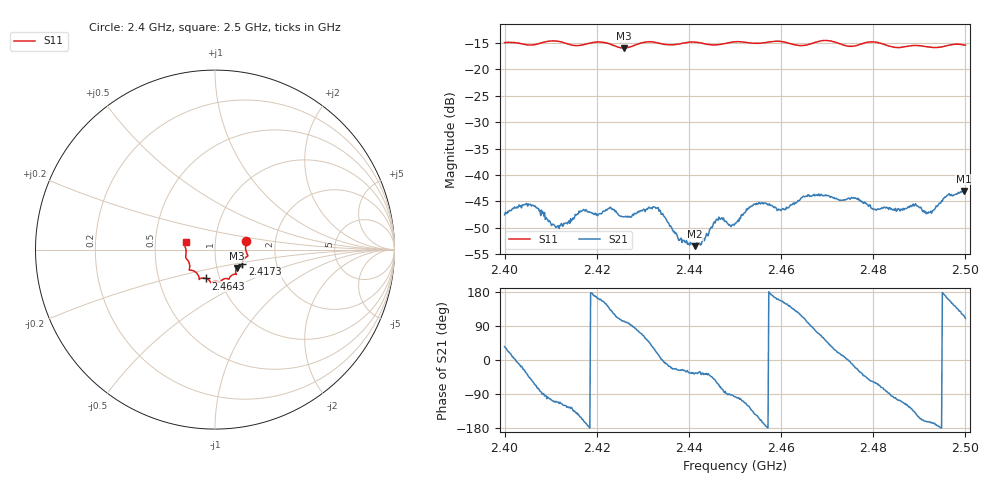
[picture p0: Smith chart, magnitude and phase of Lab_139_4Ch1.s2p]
# Hz S RI R 50
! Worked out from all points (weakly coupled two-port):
!   601 points, 2.4 GHz to 2.5 GHz, reference 50 ohm
!   highest |S21| = -43.03 dB at 2.4997 GHz (marker M1); lowest = -53.5 dB at 2.4413 GHz (marker M2)
!   lowest |S11| = -15.9 dB at 2.4258 GHz (marker M3), VSWR 1.38, Z = 62.3 - j13.2 ohm
!   |S11| at or under -10 dB: start of sweep to end of sweep
!   S12 and S22 are empty: the file has one direction only
!   S11 on the Smith chart (normalised r, x): 2.4 GHz: 1.41, +0.14; 2.4173 GHz: 1.34, -0.23; 2.4643 GHz: 0.86, -0.28; 2.5 GHz: 0.72, +0.06
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2.4e9  0.1728 0.0488  0.00342 0.00244  0 0  0 0
2.405667e9  0.1702 0.00613  0.00338 -0.00405  0 0  0 0
2.4115e9  0.1818 -0.0363  -0.00118 -0.00307  0 0  0 0
2.416667e9  0.1529 -0.0742  -0.00404 -0.00206  0 0  0 0
2.417333e9  0.152 -0.0817  -0.00444 -0.0013  0 0  0 0
2.423e9  0.1455 -0.0942  -0.0033 0.00369  0 0  0 0
2.425833e9  0.1218 -0.1031  -0.000836 0.00393  0 0  0 0
2.433333e9  0.1132 -0.1373  0.00477 0.0012  0 0  0 0
2.438e9  0.0824 -0.1541  0.00215 -0.00112  0 0  0 0
2.441333e9  0.0766 -0.1649  0.00174 -0.00121  0 0  0 0
2.446333e9  0.0451 -0.1657  0.00169 -0.00333  0 0  0 0
2.45e9  0.029 -0.1808  -0.000426 -0.00343  0 0  0 0
2.454167e9  0.00919 -0.1768  -0.00415 -0.00328  0 0  0 0
2.459667e9  -0.024 -0.1832  -0.00433 0.00175  0 0  0 0
2.464333e9  -0.0499 -0.1606  -0.00281 0.00535  0 0  0 0
2.466667e9  -0.0756 -0.159  0.000173 0.0063  0 0  0 0
2.483333e9  -0.1409 -0.0901  0.000176 -0.00472  0 0  0 0
2.489167e9  -0.1627 -0.0442  -0.00407 -0.00347  0 0  0 0
2.492167e9  -0.1612 -0.0238  -0.00423 -0.00126  0 0  0 0
2.496e9  -0.1666 0.0192  -0.00614 0.00178  0 0  0 0
2.499667e9  -0.1658 0.0412  -0.0032 0.00629  0 0  0 0
2.5e9  -0.1641 0.0432  -0.00239 0.00658  0 0  0 0
